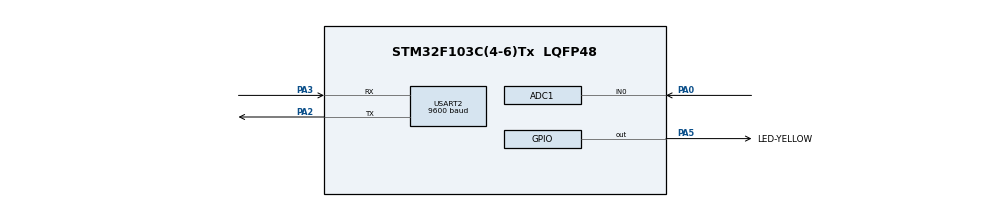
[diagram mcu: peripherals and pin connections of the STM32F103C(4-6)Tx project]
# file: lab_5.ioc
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ADC1.Channel-0\#ChannelRegularConversion=ADC_CHANNEL_0
ADC1.ContinuousConvMode=ENABLE
ADC1.NbrOfConversionFlag=1
ADC1.Rank-0\#ChannelRegularConversion=1
ADC1.SamplingTime-0\#ChannelRegularConversion=ADC_SAMPLETIME_1CYCLE_5
ADC1.master=1
Mcu.Family=STM32F1
Mcu.Name=STM32F103C(4-6)Tx
Mcu.Package=LQFP48
NVIC.PriorityGroup=NVIC_PRIORITYGROUP_4
NVIC.TIM2_IRQn=true\:0\:0\:false\:false\:true\:true\:true
NVIC.USART2_IRQn=true\:0\:0\:false\:false\:true\:true\:true
PA0-WKUP.Signal=ADCx_IN0
PA2.Mode=Asynchronous
PA2.Signal=USART2_TX
PA3.Mode=Asynchronous
PA3.Signal=USART2_RX
PA5.GPIO_Label=LED-YELLOW
PA5.Signal=GPIO_Output
ProjectManager.HeapSize=0x200
ProjectManager.StackSize=0x400
ProjectManager.TargetToolchain=STM32CubeIDE
RCC.APB1Freq_Value=8000000
RCC.APB2Freq_Value=8000000
SH.ADCx_IN0.0=ADC1_IN0,IN0
TIM2.Period=9
TIM2.Prescaler=7999
USART2.BaudRate=9600
USART2.VirtualMode=VM_ASYNC
VP_SYS_VS_ND.Mode=No_Debug
VP_TIM2_VS_ClockSourceINT.Mode=Internal
board=custom

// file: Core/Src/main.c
/* USER CODE BEGIN Header */
/**
  ******************************************************************************
  * @file           : main.c
  * @brief          : Main program body
  ******************************************************************************
  * @attention
  *
  * <h2><center>&copy; Copyright (c) 2023 STMicroelectronics.
  * All rights reserved.</center></h2>
  *
  * This software component is licensed by ST under BSD 3-Clause license,
  * the "License"; You may not use this file except in compliance with the
  * License. You may obtain a copy of the License at:
  *                        opensource.org/licenses/BSD-3-Clause
  *
  ******************************************************************************
  */
/* USER CODE END Header */
#include "main.h"

/* USER CODE BEGIN Includes */
#include <stdio.h>
#include <string.h>
#include <stdint.h>
#include "software_timer.h"
#include "uart_fsm.h"
#include "parser_fsm.h"
#include "global.h"
/* USER CODE END Includes */

ADC_HandleTypeDef hadc1;

TIM_HandleTypeDef htim2;

UART_HandleTypeDef huart2;

void SystemClock_Config(void);
static void MX_GPIO_Init(void);
static void MX_ADC1_Init(void);
static void MX_USART2_UART_Init(void);
static void MX_TIM2_Init(void);

/* USER CODE BEGIN 0 */

void HAL_UART_RxCpltCallback(UART_HandleTypeDef *huart) {
	if(huart->Instance == USART2) {
	    process_flag = 1;
		HAL_UART_Transmit(&huart2, &temp, 1, HAL_MAX_DELAY);
		HAL_UART_Receive_IT(&huart2, &temp, 1);
	}
}
void HAL_TIM_PeriodElapsedCallback(TIM_HandleTypeDef *htim) {
    timerRun();
}
/* USER CODE END 0 */

int main(void)
{

  /* MCU Configuration--------------------------------------------------------*/

  /* Reset of all peripherals, Initializes the Flash interface and the Systick. */
  HAL_Init();

  /* Configure the system clock */
  SystemClock_Config();

  /* Initialize all configured peripherals */
  MX_GPIO_Init();
  MX_ADC1_Init();
  MX_USART2_UART_Init();
  MX_TIM2_Init();
  /* USER CODE BEGIN 2 */
  HAL_ADC_Start(&hadc1);
  HAL_UART_Receive_IT(&huart2, &temp, 1);
  HAL_TIM_Base_Start_IT(&htim2);
  setTimer1(300);
  /* USER CODE END 2 */

  /* Infinite loop */
  while (1)
  {

    /* USER CODE BEGIN 3 */
	  if(process_flag == 1) {
		  command_parser_fsm();
		  process_flag = 0;
	  }
	  uart_communiation_fsm();
  }
  /* USER CODE END 3 */
}

void SystemClock_Config(void)
{
  RCC_OscInitTypeDef RCC_OscInitStruct = {0};
  RCC_ClkInitTypeDef RCC_ClkInitStruct = {0};
  RCC_PeriphCLKInitTypeDef PeriphClkInit = {0};

  /** Initializes the RCC Oscillators according to the specified parameters
  * in the RCC_OscInitTypeDef structure.
  */
  RCC_OscInitStruct.OscillatorType = RCC_OSCILLATORTYPE_HSI;
  RCC_OscInitStruct.HSIState = RCC_HSI_ON;
  RCC_OscInitStruct.HSICalibrationValue = RCC_HSICALIBRATION_DEFAULT;
  RCC_OscInitStruct.PLL.PLLState = RCC_PLL_NONE;
  if (HAL_RCC_OscConfig(&RCC_OscInitStruct) != HAL_OK)
  {
    Error_Handler();
  }
  /** Initializes the CPU, AHB and APB buses clocks
  */
  RCC_ClkInitStruct.ClockType = RCC_CLOCKTYPE_HCLK|RCC_CLOCKTYPE_SYSCLK
                              |RCC_CLOCKTYPE_PCLK1|RCC_CLOCKTYPE_PCLK2;
  RCC_ClkInitStruct.SYSCLKSource = RCC_SYSCLKSOURCE_HSI;
  RCC_ClkInitStruct.AHBCLKDivider = RCC_SYSCLK_DIV1;
  RCC_ClkInitStruct.APB1CLKDivider = RCC_HCLK_DIV1;
  RCC_ClkInitStruct.APB2CLKDivider = RCC_HCLK_DIV1;

  if (HAL_RCC_ClockConfig(&RCC_ClkInitStruct, FLASH_LATENCY_0) != HAL_OK)
  {
    Error_Handler();
  }
  PeriphClkInit.PeriphClockSelection = RCC_PERIPHCLK_ADC;
  PeriphClkInit.AdcClockSelection = RCC_ADCPCLK2_DIV2;
  if (HAL_RCCEx_PeriphCLKConfig(&PeriphClkInit) != HAL_OK)
  {
    Error_Handler();
  }
}

static void MX_ADC1_Init(void)
{

  ADC_ChannelConfTypeDef sConfig = {0};

  /** Common config
  */
  hadc1.Instance = ADC1;
  hadc1.Init.ScanConvMode = ADC_SCAN_DISABLE;
  hadc1.Init.ContinuousConvMode = ENABLE;
  hadc1.Init.DiscontinuousConvMode = DISABLE;
  hadc1.Init.ExternalTrigConv = ADC_SOFTWARE_START;
  hadc1.Init.DataAlign = ADC_DATAALIGN_RIGHT;
  hadc1.Init.NbrOfConversion = 1;
  if (HAL_ADC_Init(&hadc1) != HAL_OK)
  {
    Error_Handler();
  }
  /** Configure Regular Channel
  */
  sConfig.Channel = ADC_CHANNEL_0;
  sConfig.Rank = ADC_REGULAR_RANK_1;
  sConfig.SamplingTime = ADC_SAMPLETIME_1CYCLE_5;
  if (HAL_ADC_ConfigChannel(&hadc1, &sConfig) != HAL_OK)
  {
    Error_Handler();
  }

}

static void MX_TIM2_Init(void)
{

  TIM_ClockConfigTypeDef sClockSourceConfig = {0};
  TIM_MasterConfigTypeDef sMasterConfig = {0};

  htim2.Instance = TIM2;
  htim2.Init.Prescaler = 7999;
  htim2.Init.CounterMode = TIM_COUNTERMODE_UP;
  htim2.Init.Period = 9;
  htim2.Init.ClockDivision = TIM_CLOCKDIVISION_DIV1;
  htim2.Init.AutoReloadPreload = TIM_AUTORELOAD_PRELOAD_DISABLE;
  if (HAL_TIM_Base_Init(&htim2) != HAL_OK)
  {
    Error_Handler();
  }
  sClockSourceConfig.ClockSource = TIM_CLOCKSOURCE_INTERNAL;
  if (HAL_TIM_ConfigClockSource(&htim2, &sClockSourceConfig) != HAL_OK)
  {
    Error_Handler();
  }
  sMasterConfig.MasterOutputTrigger = TIM_TRGO_RESET;
  sMasterConfig.MasterSlaveMode = TIM_MASTERSLAVEMODE_DISABLE;
  if (HAL_TIMEx_MasterConfigSynchronization(&htim2, &sMasterConfig) != HAL_OK)
  {
    Error_Handler();
  }

}

static void MX_USART2_UART_Init(void)
{

  huart2.Instance = USART2;
  huart2.Init.BaudRate = 9600;
  huart2.Init.WordLength = UART_WORDLENGTH_8B;
  huart2.Init.StopBits = UART_STOPBITS_1;
  huart2.Init.Parity = UART_PARITY_NONE;
  huart2.Init.Mode = UART_MODE_TX_RX;
  huart2.Init.HwFlowCtl = UART_HWCONTROL_NONE;
  huart2.Init.OverSampling = UART_OVERSAMPLING_16;
  if (HAL_UART_Init(&huart2) != HAL_OK)
  {
    Error_Handler();
  }

}

static void MX_GPIO_Init(void)
{
  GPIO_InitTypeDef GPIO_InitStruct = {0};

  /* GPIO Ports Clock Enable */
  __HAL_RCC_GPIOA_CLK_ENABLE();

  /*Configure GPIO pin Output Level */
  HAL_GPIO_WritePin(LED_YELLOW_GPIO_Port, LED_YELLOW_Pin, GPIO_PIN_RESET);

  /*Configure GPIO pin : LED_YELLOW_Pin */
  GPIO_InitStruct.Pin = LED_YELLOW_Pin;
  GPIO_InitStruct.Mode = GPIO_MODE_OUTPUT_PP;
  GPIO_InitStruct.Pull = GPIO_NOPULL;
  GPIO_InitStruct.Speed = GPIO_SPEED_FREQ_LOW;
  HAL_GPIO_Init(LED_YELLOW_GPIO_Port, &GPIO_InitStruct);

}

void Error_Handler(void)
{
  __disable_irq();
  while (1)
  {
  }
}

/************************ (C) COPYRIGHT STMicroelectronics *****END OF FILE****/
